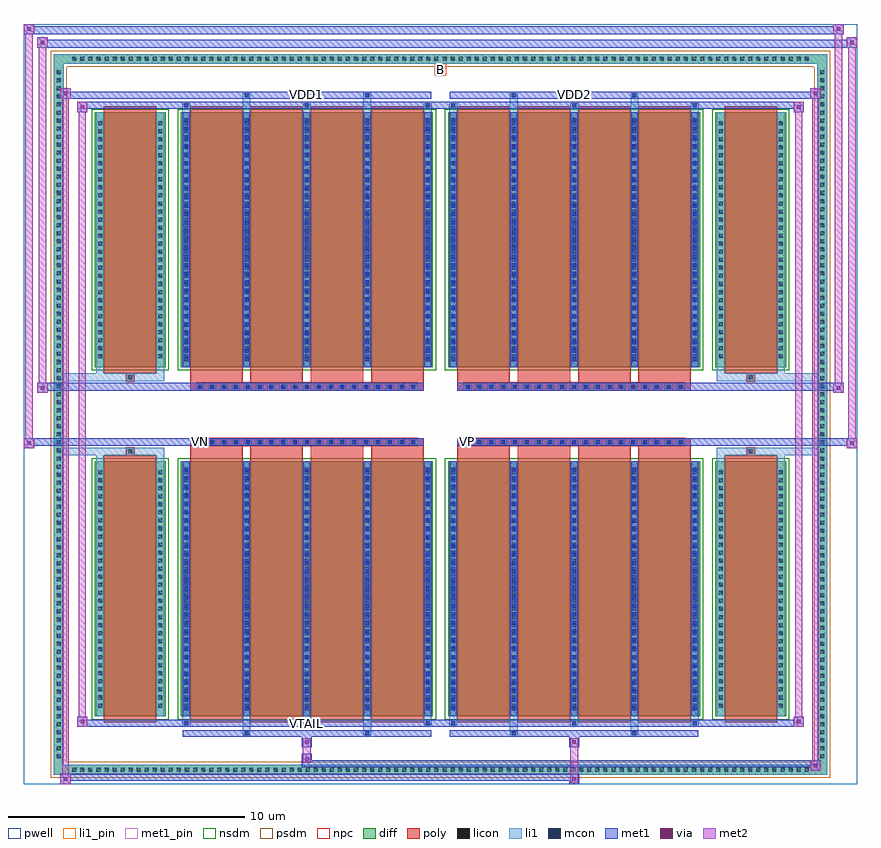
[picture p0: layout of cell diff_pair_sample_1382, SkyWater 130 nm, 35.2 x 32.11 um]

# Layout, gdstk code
import gdstk
lib = gdstk.Library(unit=1e-6, precision=5e-09)
def R(c, l, rs):  # rectangles x0, y0, x1, y1
    for r in rs: c.add(gdstk.rectangle(r[:2], r[2:], *l))
def A(c, l, x, y, w, h, nx, ny, dx, dy):  # array of equal rectangles
    R(c, l, [(x+i*dx, y+j*dy, x+i*dx+w, y+j*dy+h) for i in range(nx) for j in range(ny)])
def P(c, l, *ps):  # polygons
    for p in ps: c.add(gdstk.Polygon(p, *l))
pwell = (64, 44)
diff = (65, 20)
poly = (66, 20)
licon = (66, 44)
li1_pin = (67, 16)
li1 = (67, 20)
mcon = (67, 44)
met1_pin = (68, 16)
met1 = (68, 20)
via = (68, 44)
met2 = (69, 20)
nsdm = (93, 44)
psdm = (94, 20)
npc = (95, 20)

diff_pair_sample_1382 = lib.new_cell('diff_pair_sample_1382')
R(diff_pair_sample_1382, pwell, [(-17.6,-15.62,17.6,16.49), (-14.92,-13.81,-0.01,-0.805), (0.01,-13.81,14.92,-0.805), (-14.92,0.805,-0.01,13.81), (0.01,0.805,14.92,13.81)])
A(diff_pair_sample_1382, diff, -15.675, -15.22, 0.41, 0.41, 92, 2, 0.34, 30.03)
A(diff_pair_sample_1382, diff, -16.33, -14.655, 0.41, 0.41, 1, 86, 0, 0.34)
A(diff_pair_sample_1382, diff, 15.92, -14.655, 0.41, 0.41, 1, 86, 0, 0.34)
R(diff_pair_sample_1382, diff, [(-15.675,-15.22,15.675,-14.81), (-16.33,-14.655,-15.92,14.655), (15.92,-14.655,16.33,14.655), (-14.61,-12.765,-11.61,-1.985), (-10.97,-12.765,-0.32,-1.985), (0.32,-12.765,10.97,-1.985), (11.61,-12.765,14.61,-1.985), (-14.61,1.985,-11.61,12.765), (-10.97,1.985,-0.32,12.765), (0.32,1.985,10.97,12.765), (11.61,1.985,14.61,12.765), (-15.675,14.81,15.675,15.22)])
P(diff_pair_sample_1382, diff, [(16.33,15.22),(-16.33,15.22),(-16.33,-14.81),(-15.92,-14.81),(-15.92,14.81),(15.92,14.81),(15.92,-14.81),(-15.92,-14.81),(-16.33,-14.81),(-16.33,-15.22),(16.33,-15.22)])
A(diff_pair_sample_1382, poly, -10.58, -13.015, 2.22, 11.28, 4, 2, 2.55, 14.75)
A(diff_pair_sample_1382, poly, 0.71, -13.015, 2.22, 11.28, 4, 2, 2.55, 14.75)
A(diff_pair_sample_1382, poly, -10.58, -1.735, 2.22, 0.4, 4, 2, 2.55, 3.07)
A(diff_pair_sample_1382, poly, 0.71, -1.735, 2.22, 0.4, 4, 2, 2.55, 3.07)
A(diff_pair_sample_1382, poly, -10.31, -1.335, 0.33, 0.33, 19, 2, 0.5, 2.34)
A(diff_pair_sample_1382, poly, 0.98, -1.335, 0.33, 0.33, 19, 2, 0.5, 2.34)
R(diff_pair_sample_1382, poly, [(-14.22,-13.015,-12,-1.735), (12,-13.015,14.22,-1.735), (-13.275,-1.735,-12.945,-1.405), (-13.275,-1.735,-12.945,-1.405), (12.945,-1.735,13.275,-1.405), (12.945,-1.735,13.275,-1.405), (-10.58,-1.335,-0.71,-1.005), (0.71,-1.335,10.58,-1.005), (-10.58,1.005,-0.71,1.335), (0.71,1.005,10.58,1.335), (-13.275,1.405,-12.945,1.735), (-13.275,1.405,-12.945,1.735), (12.945,1.405,13.275,1.735), (12.945,1.405,13.275,1.735), (-14.22,1.735,-12,13.015), (12,1.735,14.22,13.015)])
A(diff_pair_sample_1382, licon, -15.555, -15.1, 0.17, 0.17, 92, 2, 0.34, 30.03)
A(diff_pair_sample_1382, licon, -16.21, -14.535, 0.17, 0.17, 1, 86, 0, 0.34)
A(diff_pair_sample_1382, licon, 16.04, -14.535, 0.17, 0.17, 1, 86, 0, 0.34)
A(diff_pair_sample_1382, licon, -14.47, -12.39, 0.17, 0.17, 1, 30, 0, 0.34)
A(diff_pair_sample_1382, licon, -11.92, -12.39, 0.17, 0.17, 1, 30, 0, 0.34)
A(diff_pair_sample_1382, licon, -10.83, -12.39, 0.17, 0.17, 5, 30, 2.55, 0.34)
A(diff_pair_sample_1382, licon, 0.46, -12.39, 0.17, 0.17, 5, 30, 2.55, 0.34)
A(diff_pair_sample_1382, licon, 11.75, -12.39, 0.17, 0.17, 1, 30, 0, 0.34)
A(diff_pair_sample_1382, licon, 14.3, -12.39, 0.17, 0.17, 1, 30, 0, 0.34)
A(diff_pair_sample_1382, licon, -10.23, -1.255, 0.17, 0.17, 19, 2, 0.5, 2.34)
A(diff_pair_sample_1382, licon, 1.06, -1.255, 0.17, 0.17, 19, 2, 0.5, 2.34)
A(diff_pair_sample_1382, licon, -14.47, 2.36, 0.17, 0.17, 1, 30, 0, 0.34)
A(diff_pair_sample_1382, licon, -11.92, 2.36, 0.17, 0.17, 1, 30, 0, 0.34)
A(diff_pair_sample_1382, licon, -10.83, 2.36, 0.17, 0.17, 5, 30, 2.55, 0.34)
A(diff_pair_sample_1382, licon, 0.46, 2.36, 0.17, 0.17, 5, 30, 2.55, 0.34)
A(diff_pair_sample_1382, licon, 11.75, 2.36, 0.17, 0.17, 1, 30, 0, 0.34)
A(diff_pair_sample_1382, licon, 14.3, 2.36, 0.17, 0.17, 1, 30, 0, 0.34)
R(diff_pair_sample_1382, licon, [(-13.195,-1.655,-13.025,-1.485), (13.025,-1.655,13.195,-1.485), (-13.195,1.485,-13.025,1.655), (13.025,1.485,13.195,1.655)])
R(diff_pair_sample_1382, li1_pin, [(-0.25,14.31,0.25,14.81)])
A(diff_pair_sample_1382, li1, -15.635, -15.18, 0.33, 0.33, 92, 2, 0.34, 30.03)
A(diff_pair_sample_1382, li1, -16.29, -14.615, 0.33, 0.33, 1, 86, 0, 0.34)
A(diff_pair_sample_1382, li1, 15.96, -14.615, 0.33, 0.33, 1, 86, 0, 0.34)
A(diff_pair_sample_1382, li1, -10.91, -13.14, 0.33, 0.375, 3, 2, 5.1, 25.905)
A(diff_pair_sample_1382, li1, -10.83, -13.14, 0.17, 0.17, 3, 2, 5.1, 26.11)
A(diff_pair_sample_1382, li1, 0.38, -13.14, 0.33, 0.375, 3, 2, 5.1, 25.905)
A(diff_pair_sample_1382, li1, 0.46, -13.14, 0.17, 0.17, 3, 2, 5.1, 26.11)
A(diff_pair_sample_1382, li1, -10.91, -12.765, 0.33, 10.78, 5, 2, 2.55, 14.75)
A(diff_pair_sample_1382, li1, 0.38, -12.765, 0.33, 10.78, 5, 2, 2.55, 14.75)
A(diff_pair_sample_1382, li1, -10.83, -12.5, 0.17, 0.17, 5, 29, 2.55, 0.36)
A(diff_pair_sample_1382, li1, -10.83, -12.5, 0.17, 10.25, 5, 2, 2.55, 14.75)
A(diff_pair_sample_1382, li1, 0.46, -12.5, 0.17, 0.17, 5, 29, 2.55, 0.36)
A(diff_pair_sample_1382, li1, 0.46, -12.5, 0.17, 10.25, 5, 2, 2.55, 14.75)
A(diff_pair_sample_1382, li1, -14.55, -12.47, 0.33, 0.33, 1, 30, 0, 0.34)
A(diff_pair_sample_1382, li1, -12, -12.47, 0.33, 0.33, 1, 30, 0, 0.34)
A(diff_pair_sample_1382, li1, -10.91, -12.47, 0.33, 0.33, 5, 30, 2.55, 0.34)
A(diff_pair_sample_1382, li1, 0.38, -12.47, 0.33, 0.33, 5, 30, 2.55, 0.34)
A(diff_pair_sample_1382, li1, 11.67, -12.47, 0.33, 0.33, 1, 30, 0, 0.34)
A(diff_pair_sample_1382, li1, 14.22, -12.47, 0.33, 0.33, 1, 30, 0, 0.34)
A(diff_pair_sample_1382, li1, -10.31, -1.335, 0.33, 0.33, 19, 2, 0.5, 2.34)
A(diff_pair_sample_1382, li1, 0.98, -1.335, 0.33, 0.33, 19, 2, 0.5, 2.34)
A(diff_pair_sample_1382, li1, -10.83, 2.25, 0.17, 0.17, 5, 29, 2.55, 0.36)
A(diff_pair_sample_1382, li1, 0.46, 2.25, 0.17, 0.17, 5, 29, 2.55, 0.36)
A(diff_pair_sample_1382, li1, -14.55, 2.28, 0.33, 0.33, 1, 30, 0, 0.34)
A(diff_pair_sample_1382, li1, -12, 2.28, 0.33, 0.33, 1, 30, 0, 0.34)
A(diff_pair_sample_1382, li1, -10.91, 2.28, 0.33, 0.33, 5, 30, 2.55, 0.34)
A(diff_pair_sample_1382, li1, 0.38, 2.28, 0.33, 0.33, 5, 30, 2.55, 0.34)
A(diff_pair_sample_1382, li1, 11.67, 2.28, 0.33, 0.33, 1, 30, 0, 0.34)
A(diff_pair_sample_1382, li1, 14.22, 2.28, 0.33, 0.33, 1, 30, 0, 0.34)
R(diff_pair_sample_1382, li1, [(-16.33,-15.22,-15.92,-14.81), (-16.33,-15.22,-15.92,-14.81), (-15.92,-15.22,15.92,-14.81), (15.92,-15.22,16.33,-14.81), (15.92,-15.22,16.33,-14.81), (-16.33,-14.81,-15.92,14.81), (15.92,-14.81,16.33,14.81), (-8.36,-13.57,-8.03,-12.765), (-8.28,-13.57,-8.11,-13.4), (-3.26,-13.57,-2.93,-12.765), (-3.18,-13.57,-3.01,-13.4), (2.93,-13.57,3.26,-12.765), (3.01,-13.57,3.18,-13.4), (8.03,-13.57,8.36,-12.765), (8.11,-13.57,8.28,-13.4), (-14.55,-12.765,-14.22,-1.985), (-12,-12.765,-11.67,-1.985), (11.67,-12.765,12,-1.985), (14.22,-12.765,14.55,-1.985), (-14.55,-1.985,-14.22,-1.405), (-12,-1.985,-11.67,-1.405), (11.67,-1.985,12,-1.405), (14.22,-1.985,14.55,-1.405), (-16.33,-1.735,-13.275,-1.405), (-14.55,-1.735,-13.275,-1.405), (-13.275,-1.735,-12.945,-1.405), (-12.945,-1.735,-11.67,-1.405), (11.67,-1.735,12.945,-1.405), (12.945,-1.735,13.275,-1.405), (12.945,-1.735,16.33,-1.405), (13.275,-1.735,14.55,-1.405), (-16.33,1.405,-13.275,1.735), (-14.55,1.405,-13.275,1.735), (-14.55,1.405,-14.22,1.985), (-13.275,1.405,-12.945,1.735), (-12.945,1.405,-11.67,1.735), (-12,1.405,-11.67,1.985), (11.67,1.405,12.945,1.735), (11.67,1.405,12,1.985), (12.945,1.405,13.275,1.735), (12.945,1.405,16.33,1.735), (13.275,1.405,14.55,1.735), (14.22,1.405,14.55,1.985), (-14.55,1.985,-14.22,12.765), (-12,1.985,-11.67,12.765), (11.67,1.985,12,12.765), (14.22,1.985,14.55,12.765), (-8.36,12.765,-8.03,13.57), (-3.26,12.765,-2.93,13.57), (2.93,12.765,3.26,13.57), (8.03,12.765,8.36,13.57), (-8.28,13.4,-8.11,13.57), (-3.18,13.4,-3.01,13.57), (3.01,13.4,3.18,13.57), (8.11,13.4,8.28,13.57), (-16.33,14.81,-15.92,15.22), (-16.33,14.81,-15.92,15.22), (-15.92,14.81,15.92,15.22), (15.92,14.81,16.33,15.22), (15.92,14.81,16.33,15.22)])
A(diff_pair_sample_1382, mcon, -10.83, -13.14, 0.17, 0.17, 3, 2, 5.1, 26.11)
A(diff_pair_sample_1382, mcon, 0.46, -13.14, 0.17, 0.17, 3, 2, 5.1, 26.11)
A(diff_pair_sample_1382, mcon, -10.83, -12.5, 0.17, 0.17, 5, 29, 2.55, 0.36)
A(diff_pair_sample_1382, mcon, 0.46, -12.5, 0.17, 0.17, 5, 29, 2.55, 0.36)
A(diff_pair_sample_1382, mcon, -10.23, -1.255, 0.17, 0.17, 19, 2, 0.5, 2.34)
A(diff_pair_sample_1382, mcon, 1.06, -1.255, 0.17, 0.17, 19, 2, 0.5, 2.34)
A(diff_pair_sample_1382, mcon, -10.83, 2.25, 0.17, 0.17, 5, 29, 2.55, 0.36)
A(diff_pair_sample_1382, mcon, 0.46, 2.25, 0.17, 0.17, 5, 29, 2.55, 0.36)
R(diff_pair_sample_1382, mcon, [(-8.28,-13.57,-8.11,-13.4), (-3.18,-13.57,-3.01,-13.4), (3.01,-13.57,3.18,-13.4), (8.11,-13.57,8.28,-13.4), (-8.28,13.4,-8.11,13.57), (-3.18,13.4,-3.01,13.57), (3.01,13.4,3.18,13.57), (8.11,13.4,8.28,13.57)])
R(diff_pair_sample_1382, met1_pin, [(-5.78,-13.18,-5.51,-12.91), (-10.28,-1.295,-10.01,-1.025), (1.01,-1.295,1.28,-1.025), (-5.78,13.36,-5.51,13.63), (5.51,13.36,5.78,13.63)])
A(diff_pair_sample_1382, met1, -10.89, -13.2, 0.29, 0.29, 3, 2, 5.1, 26.11)
A(diff_pair_sample_1382, met1, 0.4, -13.2, 0.29, 0.29, 3, 2, 5.1, 26.11)
A(diff_pair_sample_1382, met1, -10.89, -12.765, 0.29, 10.78, 5, 2, 2.55, 14.75)
A(diff_pair_sample_1382, met1, 0.4, -12.765, 0.29, 10.78, 5, 2, 2.55, 14.75)
A(diff_pair_sample_1382, met1, -10.89, -12.56, 0.29, 0.29, 5, 29, 2.55, 0.36)
A(diff_pair_sample_1382, met1, 0.4, -12.56, 0.29, 0.29, 5, 29, 2.55, 0.36)
A(diff_pair_sample_1382, met1, -10.29, -1.315, 0.29, 0.29, 19, 2, 0.5, 2.34)
A(diff_pair_sample_1382, met1, 1, -1.315, 0.29, 0.29, 19, 2, 0.5, 2.34)
A(diff_pair_sample_1382, met1, -10.89, 2.19, 0.29, 0.29, 5, 29, 2.55, 0.36)
A(diff_pair_sample_1382, met1, 0.4, 2.19, 0.29, 0.29, 5, 29, 2.55, 0.36)
R(diff_pair_sample_1382, met1, [(-16.06,-15.62,-15.63,-15.19), (5.43,-15.62,5.86,-15.19), (-16.06,-15.48,5.86,-15.19), (15.63,-15.05,16.06,-14.62), (-5.86,-14.91,16.06,-14.62), (-5.86,-14.77,-5.43,-14.34), (-5.86,-14.06,-5.43,-13.63), (5.43,-14.06,5.86,-13.63), (-10.89,-13.63,-0.4,-13.34), (-8.34,-13.63,-8.05,-13.34), (-3.24,-13.63,-2.95,-13.34), (0.4,-13.63,10.89,-13.34), (2.95,-13.63,3.24,-13.34), (8.05,-13.63,8.34,-13.34), (-15.35,-13.2,-14.92,-12.77), (-15.35,-13.2,-10.89,-12.91), (-10.89,-13.2,-0.4,-12.91), (-0.4,-13.2,0.4,-12.91), (0.4,-13.2,10.89,-12.91), (10.89,-13.2,15.35,-12.91), (14.92,-13.2,15.35,-12.77), (-17.6,-1.435,-17.17,-1.005), (17.17,-1.435,17.6,-1.005), (-17.6,-1.335,-0.71,-1.005), (-10.58,-1.335,-0.71,-1.005), (0.71,-1.335,10.58,-1.005), (0.71,-1.335,17.6,-1.005), (-17.03,0.905,-16.6,1.335), (16.6,0.905,17.03,1.335), (-17.03,1.005,-10.58,1.335), (-10.58,1.005,-0.71,1.335), (0.71,1.005,10.58,1.335), (10.58,1.005,17.03,1.335), (-15.35,12.77,-14.92,13.2), (14.92,12.77,15.35,13.2), (-15.35,12.91,-10.89,13.2), (-10.89,12.91,-0.4,13.2), (-0.4,12.91,0.4,13.2), (0.4,12.91,10.89,13.2), (10.89,12.91,15.35,13.2), (-16.06,13.34,-15.63,13.77), (-16.06,13.34,-10.89,13.63), (-10.89,13.34,-0.4,13.63), (-8.34,13.34,-8.05,13.63), (-3.24,13.34,-2.95,13.63), (0.4,13.34,10.89,13.63), (2.95,13.34,3.24,13.63), (8.05,13.34,8.34,13.63), (10.89,13.34,16.06,13.63), (15.63,13.34,16.06,13.77), (-17.03,15.49,-16.6,15.92), (-17.03,15.49,-14.92,15.82), (-14.92,15.49,14.92,15.82), (14.92,15.49,17.6,15.82), (17.17,15.49,17.6,15.92), (-17.6,16.06,-17.17,16.49), (-17.6,16.06,-14.92,16.39), (-14.92,16.06,14.92,16.39), (14.92,16.06,17.03,16.39), (16.6,16.06,17.03,16.49)])
R(diff_pair_sample_1382, via, [(-15.92,-15.48,-15.77,-15.33), (5.57,-15.48,5.72,-15.33), (15.77,-14.91,15.92,-14.76), (-5.72,-14.63,-5.57,-14.48), (-5.72,-13.92,-5.57,-13.77), (5.57,-13.92,5.72,-13.77), (-15.21,-13.06,-15.06,-12.91), (15.06,-13.06,15.21,-12.91), (-17.46,-1.295,-17.31,-1.145), (17.31,-1.295,17.46,-1.145), (-16.89,1.045,-16.74,1.195), (16.74,1.045,16.89,1.195), (-15.21,12.91,-15.06,13.06), (15.06,12.91,15.21,13.06), (-15.92,13.48,-15.77,13.63), (15.77,13.48,15.92,13.63), (-16.89,15.63,-16.74,15.78), (17.31,15.63,17.46,15.78), (-17.46,16.2,-17.31,16.35), (16.74,16.2,16.89,16.35)])
R(diff_pair_sample_1382, met2, [(-16.06,-15.62,-15.63,-15.19), (-15.99,-15.62,-15.7,13.77), (-15.7,-15.62,-15.63,-15.19), (-16.01,-15.57,-15.68,-15.24), (5.48,-15.57,5.81,-15.24), (5.48,-15.24,5.81,-14.01), (15.63,-15.05,16.06,-14.62), (15.7,-15.05,15.99,13.77), (15.99,-15.05,16.06,-14.62), (15.68,-15,16.01,-14.67), (-5.81,-14.72,-5.48,-14.39), (-5.81,-14.39,-5.48,-14.01), (-5.81,-14.01,-5.48,-13.68), (5.48,-14.01,5.81,-13.68), (-15.35,-13.2,-14.92,-12.77), (-15.28,-13.2,-14.99,13.2), (-14.99,-13.2,-14.92,-12.77), (14.92,-13.2,15.35,-12.77), (14.99,-13.2,15.28,13.2), (15.28,-13.2,15.35,-12.77), (-15.3,-13.15,-14.97,-12.82), (14.97,-13.15,15.3,-12.82), (-17.6,-1.435,-17.17,-1.005), (-17.55,-1.435,-17.22,16.49), (-17.22,-1.435,-17.17,-1.005), (17.17,-1.435,17.6,-1.005), (17.22,-1.435,17.55,15.92), (17.55,-1.435,17.6,-1.005), (-17.55,-1.385,-17.22,-1.055), (17.22,-1.385,17.55,-1.055), (-17.03,0.905,-16.6,1.335), (-16.98,0.905,-16.65,15.92), (-16.65,0.905,-16.6,1.335), (16.6,0.905,17.03,1.335), (16.65,0.905,16.98,16.49), (16.98,0.905,17.03,1.335), (-16.98,0.955,-16.65,1.285), (16.65,0.955,16.98,1.285), (-15.35,12.77,-14.92,13.2), (-14.99,12.77,-14.92,13.2), (14.92,12.77,15.35,13.2), (15.28,12.77,15.35,13.2), (-15.3,12.82,-14.97,13.15), (14.97,12.82,15.3,13.15), (-16.06,13.34,-15.63,13.77), (-15.7,13.34,-15.63,13.77), (15.63,13.34,16.06,13.77), (15.99,13.34,16.06,13.77), (-16.01,13.39,-15.68,13.72), (15.68,13.39,16.01,13.72), (-17.03,15.49,-16.6,15.92), (-16.65,15.49,-16.6,15.92), (17.17,15.49,17.6,15.92), (17.55,15.49,17.6,15.92), (-16.98,15.54,-16.65,15.87), (17.22,15.54,17.55,15.87), (-17.6,16.06,-17.17,16.49), (-17.22,16.06,-17.17,16.49), (16.6,16.06,17.03,16.49), (16.98,16.06,17.03,16.49), (-17.55,16.11,-17.22,16.44), (16.65,16.11,16.98,16.44)])
R(diff_pair_sample_1382, nsdm, [(-14.74,-12.895,-11.48,-1.855), (-11.1,-12.895,-0.19,-1.855), (0.19,-12.895,11.1,-1.855), (11.48,-12.895,14.74,-1.855), (-14.74,1.855,-11.48,12.895), (-11.1,1.855,-0.19,12.895), (0.19,1.855,11.1,12.895), (11.48,1.855,14.74,12.895)])
P(diff_pair_sample_1382, psdm, [(16.46,15.35),(-16.46,15.35),(-16.46,-14.68),(-15.79,-14.68),(-15.79,14.68),(15.79,14.68),(15.79,-14.68),(-15.79,-14.68),(-16.46,-14.68),(-16.46,-15.35),(16.46,-15.35)])
A(diff_pair_sample_1382, npc, -10.33, -1.355, 0.37, 0.37, 19, 2, 0.5, 2.34)
A(diff_pair_sample_1382, npc, 0.96, -1.355, 0.37, 0.37, 19, 2, 0.5, 2.34)
R(diff_pair_sample_1382, npc, [(-13.295,-1.755,-12.925,-1.385), (12.925,-1.755,13.295,-1.385), (-10.33,-1.355,-9.46,-0.985), (-10.33,-1.355,-9.46,-0.985), (-9.83,-1.355,-8.96,-0.985), (-9.83,-1.355,-8.96,-0.985), (-9.33,-1.355,-8.46,-0.985), (-9.33,-1.355,-8.46,-0.985), (-8.83,-1.355,-7.96,-0.985), (-8.83,-1.355,-7.96,-0.985), (-8.33,-1.355,-7.46,-0.985), (-8.33,-1.355,-7.46,-0.985), (-7.83,-1.355,-6.96,-0.985), (-7.83,-1.355,-6.96,-0.985), (-7.33,-1.355,-6.46,-0.985), (-7.33,-1.355,-6.46,-0.985), (-6.83,-1.355,-5.96,-0.985), (-6.83,-1.355,-5.96,-0.985), (-6.33,-1.355,-5.46,-0.985), (-6.33,-1.355,-5.46,-0.985), (-5.83,-1.355,-4.96,-0.985), (-5.83,-1.355,-4.96,-0.985), (-5.33,-1.355,-4.46,-0.985), (-5.33,-1.355,-4.46,-0.985), (-4.83,-1.355,-3.96,-0.985), (-4.83,-1.355,-3.96,-0.985), (-4.33,-1.355,-3.46,-0.985), (-4.33,-1.355,-3.46,-0.985), (-3.83,-1.355,-2.96,-0.985), (-3.83,-1.355,-2.96,-0.985), (-3.33,-1.355,-2.46,-0.985), (-3.33,-1.355,-2.46,-0.985), (-2.83,-1.355,-1.96,-0.985), (-2.83,-1.355,-1.96,-0.985), (-2.33,-1.355,-1.46,-0.985), (-2.33,-1.355,-1.46,-0.985), (-1.83,-1.355,-0.96,-0.985), (-1.83,-1.355,-0.96,-0.985), (0.96,-1.355,1.83,-0.985), (0.96,-1.355,1.83,-0.985), (1.46,-1.355,2.33,-0.985), (1.46,-1.355,2.33,-0.985), (1.96,-1.355,2.83,-0.985), (1.96,-1.355,2.83,-0.985), (2.46,-1.355,3.33,-0.985), (2.46,-1.355,3.33,-0.985), (2.96,-1.355,3.83,-0.985), (2.96,-1.355,3.83,-0.985), (3.46,-1.355,4.33,-0.985), (3.46,-1.355,4.33,-0.985), (3.96,-1.355,4.83,-0.985), (3.96,-1.355,4.83,-0.985), (4.46,-1.355,5.33,-0.985), (4.46,-1.355,5.33,-0.985), (4.96,-1.355,5.83,-0.985), (4.96,-1.355,5.83,-0.985), (5.46,-1.355,6.33,-0.985), (5.46,-1.355,6.33,-0.985), (5.96,-1.355,6.83,-0.985), (5.96,-1.355,6.83,-0.985), (6.46,-1.355,7.33,-0.985), (6.46,-1.355,7.33,-0.985), (6.96,-1.355,7.83,-0.985), (6.96,-1.355,7.83,-0.985), (7.46,-1.355,8.33,-0.985), (7.46,-1.355,8.33,-0.985), (7.96,-1.355,8.83,-0.985), (7.96,-1.355,8.83,-0.985), (8.46,-1.355,9.33,-0.985), (8.46,-1.355,9.33,-0.985), (8.96,-1.355,9.83,-0.985), (8.96,-1.355,9.83,-0.985), (9.46,-1.355,10.33,-0.985), (9.46,-1.355,10.33,-0.985), (-10.33,0.985,-9.46,1.355), (-10.33,0.985,-9.46,1.355), (-9.83,0.985,-8.96,1.355), (-9.83,0.985,-8.96,1.355), (-9.33,0.985,-8.46,1.355), (-9.33,0.985,-8.46,1.355), (-8.83,0.985,-7.96,1.355), (-8.83,0.985,-7.96,1.355), (-8.33,0.985,-7.46,1.355), (-8.33,0.985,-7.46,1.355), (-7.83,0.985,-6.96,1.355), (-7.83,0.985,-6.96,1.355), (-7.33,0.985,-6.46,1.355), (-7.33,0.985,-6.46,1.355), (-6.83,0.985,-5.96,1.355), (-6.83,0.985,-5.96,1.355), (-6.33,0.985,-5.46,1.355), (-6.33,0.985,-5.46,1.355), (-5.83,0.985,-4.96,1.355), (-5.83,0.985,-4.96,1.355), (-5.33,0.985,-4.46,1.355), (-5.33,0.985,-4.46,1.355), (-4.83,0.985,-3.96,1.355), (-4.83,0.985,-3.96,1.355), (-4.33,0.985,-3.46,1.355), (-4.33,0.985,-3.46,1.355), (-3.83,0.985,-2.96,1.355), (-3.83,0.985,-2.96,1.355), (-3.33,0.985,-2.46,1.355), (-3.33,0.985,-2.46,1.355), (-2.83,0.985,-1.96,1.355), (-2.83,0.985,-1.96,1.355), (-2.33,0.985,-1.46,1.355), (-2.33,0.985,-1.46,1.355), (-1.83,0.985,-0.96,1.355), (-1.83,0.985,-0.96,1.355), (0.96,0.985,1.83,1.355), (0.96,0.985,1.83,1.355), (1.46,0.985,2.33,1.355), (1.46,0.985,2.33,1.355), (1.96,0.985,2.83,1.355), (1.96,0.985,2.83,1.355), (2.46,0.985,3.33,1.355), (2.46,0.985,3.33,1.355), (2.96,0.985,3.83,1.355), (2.96,0.985,3.83,1.355), (3.46,0.985,4.33,1.355), (3.46,0.985,4.33,1.355), (3.96,0.985,4.83,1.355), (3.96,0.985,4.83,1.355), (4.46,0.985,5.33,1.355), (4.46,0.985,5.33,1.355), (4.96,0.985,5.83,1.355), (4.96,0.985,5.83,1.355), (5.46,0.985,6.33,1.355), (5.46,0.985,6.33,1.355), (5.96,0.985,6.83,1.355), (5.96,0.985,6.83,1.355), (6.46,0.985,7.33,1.355), (6.46,0.985,7.33,1.355), (6.96,0.985,7.83,1.355), (6.96,0.985,7.83,1.355), (7.46,0.985,8.33,1.355), (7.46,0.985,8.33,1.355), (7.96,0.985,8.83,1.355), (7.96,0.985,8.83,1.355), (8.46,0.985,9.33,1.355), (8.46,0.985,9.33,1.355), (8.96,0.985,9.83,1.355), (8.96,0.985,9.83,1.355), (9.46,0.985,10.33,1.355), (9.46,0.985,10.33,1.355), (-13.295,1.385,-12.925,1.755), (12.925,1.385,13.295,1.755)])
diff_pair_sample_1382.add(gdstk.Label('VTAIL', (-5.645,-13.045), layer=68, texttype=5))
diff_pair_sample_1382.add(gdstk.Label('VN', (-10.145,-1.16), layer=68, texttype=5))
diff_pair_sample_1382.add(gdstk.Label('VP', (1.145,-1.16), layer=68, texttype=5))
diff_pair_sample_1382.add(gdstk.Label('B', (0,14.56), layer=67, texttype=5))
diff_pair_sample_1382.add(gdstk.Label('VDD2', (5.645,13.495), layer=68, texttype=5))
diff_pair_sample_1382.add(gdstk.Label('VDD1', (-5.645,13.495), layer=68, texttype=5))

lib.write_gds('diff_pair_sample_1382.gds')
